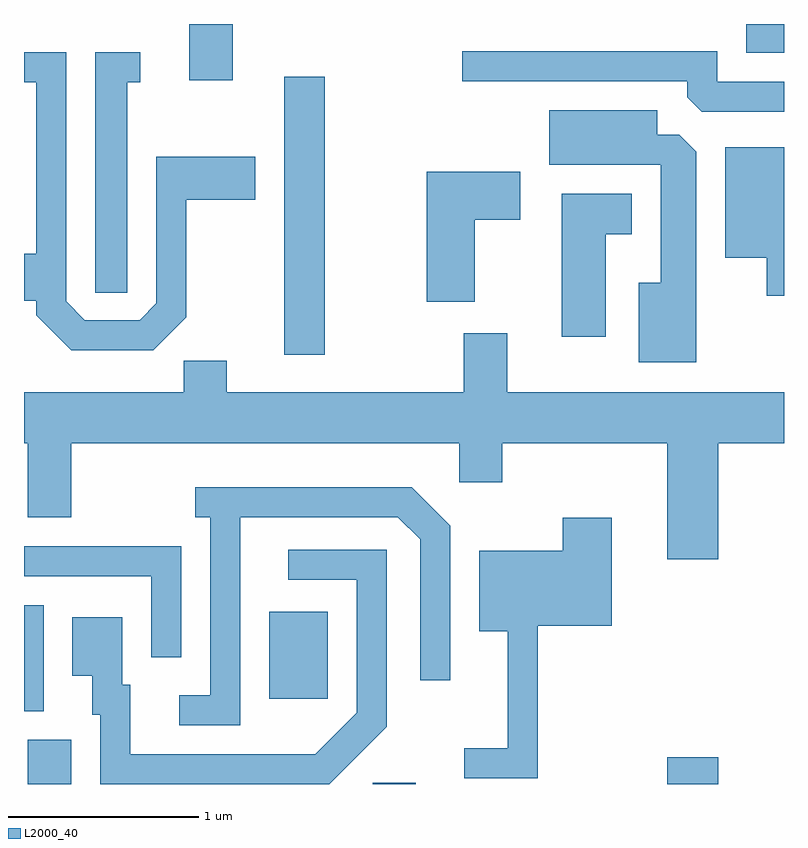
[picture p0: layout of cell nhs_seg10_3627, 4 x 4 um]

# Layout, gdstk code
import gdstk
lib = gdstk.Library(unit=1e-6, precision=1e-09)
def R(c, l, rs):  # rectangles x0, y0, x1, y1
    for r in rs: c.add(gdstk.rectangle(r[:2], r[2:], *l))
def P(c, l, *ps):  # polygons
    for p in ps: c.add(gdstk.Polygon(p, *l))
L2000_40 = (2000, 40)

nhs_seg10_3627 = lib.new_cell('nhs_seg10_3627')
R(nhs_seg10_3627, L2000_40, [(291.631,2156.522,291.859,2156.754), (293.446,2156.522,293.674,2156.529), (294.996,2156.522,295.264,2156.664), (291.611,2156.906,291.714,2157.464), (292.901,2156.971,293.209,2157.429), (292.981,2158.781,293.194,2160.244), (292.481,2160.226,292.709,2160.522), (295.411,2160.371,295.611,2160.522)])
P(nhs_seg10_3627, L2000_40, [(295.611,2160.219),(295.259,2160.219),(295.259,2160.379),(293.918,2160.379),(293.918,2160.221),(295.101,2160.221),(295.101,2160.137),(295.177,2160.061),(295.611,2160.061)],
  [(292.464,2158.979),(292.464,2159.596),(292.829,2159.596),(292.829,2159.824),(292.306,2159.824),(292.306,2159.052),(292.219,2158.964),(291.932,2158.964),(291.834,2159.062),(291.834,2160.374),(291.611,2160.374),(291.611,2160.216),(291.676,2160.216),(291.676,2159.314),(291.611,2159.314),(291.611,2159.066),(291.676,2159.066),(291.676,2158.989),(291.859,2158.806),(292.292,2158.806)],
  [(292.154,2160.216),(292.223,2160.216),(292.223,2160.374),(291.986,2160.374),(291.986,2159.108),(292.154,2159.108)],
  [(295.149,2159.849),(295.059,2159.939),(294.944,2159.939),(294.944,2160.069),(294.376,2160.069),(294.376,2159.781),(294.961,2159.781),(294.961,2159.159),(294.846,2159.159),(294.846,2158.741),(295.149,2158.741)],
  [(295.611,2159.874),(295.301,2159.874),(295.301,2159.291),(295.521,2159.291),(295.521,2159.091),(295.611,2159.091)],
  [(293.984,2159.491),(294.224,2159.491),(294.224,2159.744),(293.731,2159.744),(293.731,2159.061),(293.984,2159.061)],
  [(294.674,2159.416),(294.809,2159.416),(294.809,2159.629),(294.441,2159.629),(294.441,2158.876),(294.674,2158.876)],
  [(295.264,2158.316),(295.611,2158.316),(295.611,2158.584),(294.154,2158.584),(294.154,2158.894),(293.926,2158.894),(293.926,2158.584),(292.679,2158.584),(292.679,2158.749),(292.451,2158.749),(292.451,2158.584),(291.611,2158.584),(291.611,2158.316),(291.631,2158.316),(291.631,2157.926),(291.859,2157.926),(291.859,2158.316),(293.901,2158.316),(293.901,2158.111),(294.129,2158.111),(294.129,2158.316),(294.996,2158.316),(294.996,2157.706),(295.264,2157.706)],
  [(292.749,2157.926),(293.579,2157.926),(293.696,2157.809),(293.696,2157.068),(293.854,2157.068),(293.854,2157.882),(293.652,2158.084),(292.513,2158.084),(292.513,2157.926),(292.591,2157.926),(292.591,2156.989),(292.428,2156.989),(292.428,2156.831),(292.749,2156.831)],
  [(294.314,2157.356),(294.704,2157.356),(294.704,2157.924),(294.446,2157.924),(294.446,2157.749),(294.006,2157.749),(294.006,2157.326),(294.156,2157.326),(294.156,2156.709),(293.928,2156.709),(293.928,2156.551),(294.314,2156.551)],
  [(292.439,2157.774),(291.611,2157.774),(291.611,2157.616),(292.281,2157.616),(292.281,2157.188),(292.439,2157.188)],
  [(293.519,2156.824),(293.519,2157.754),(293.003,2157.754),(293.003,2157.596),(293.361,2157.596),(293.361,2156.897),(293.144,2156.679),(292.169,2156.679),(292.169,2157.044),(292.129,2157.044),(292.129,2157.399),(291.866,2157.399),(291.866,2157.091),(291.971,2157.091),(291.971,2156.886),(292.011,2156.886),(292.011,2156.522),(293.218,2156.522)])

lib.write_gds('nhs_seg10_3627.gds')
